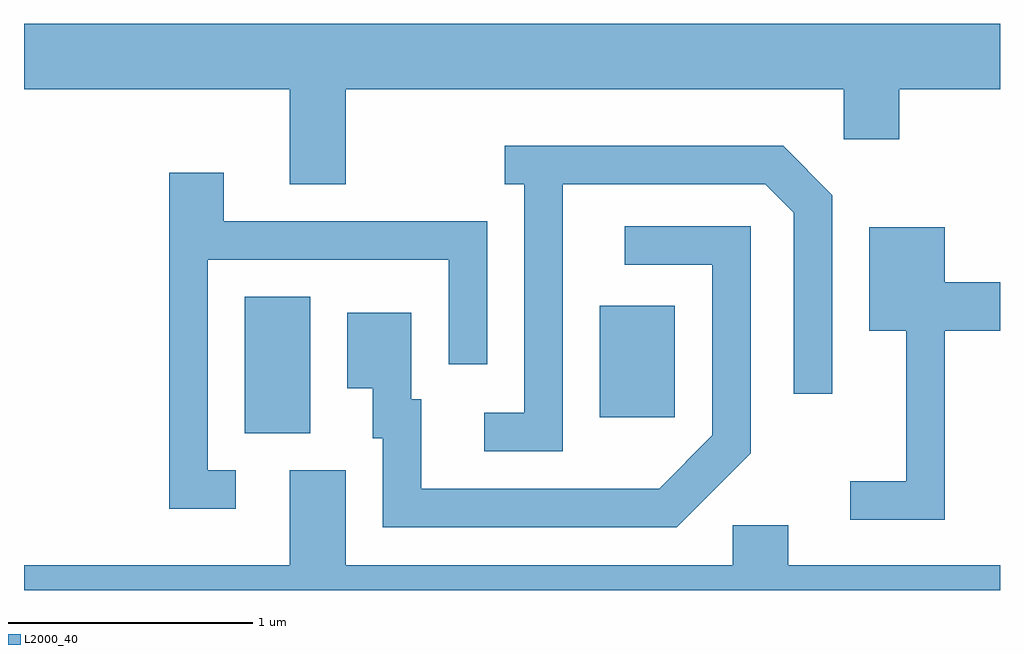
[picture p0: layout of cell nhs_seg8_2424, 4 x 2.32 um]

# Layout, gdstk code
import gdstk
lib = gdstk.Library(unit=1e-6, precision=1e-09)
def R(c, l, rs):  # rectangles x0, y0, x1, y1
    for r in rs: c.add(gdstk.rectangle(r[:2], r[2:], *l))
def P(c, l, *ps):  # polygons
    for p in ps: c.add(gdstk.Polygon(p, *l))
L2000_40 = (2000, 40)

nhs_seg8_2424 = lib.new_cell('nhs_seg8_2424')
R(nhs_seg8_2424, L2000_40, [(258.516,1854.986,258.784,1855.544), (259.971,1855.051,260.279,1855.509)])
P(nhs_seg8_2424, L2000_40, [(258.929,1856.396),(260.971,1856.396),(260.971,1856.191),(261.199,1856.191),(261.199,1856.396),(261.611,1856.396),(261.611,1856.664),(257.611,1856.664),(257.611,1856.396),(258.701,1856.396),(258.701,1856.006),(258.929,1856.006)],
  [(259.819,1856.006),(260.649,1856.006),(260.766,1855.889),(260.766,1855.148),(260.924,1855.148),(260.924,1855.962),(260.722,1856.164),(259.582,1856.164),(259.582,1856.006),(259.661,1856.006),(259.661,1855.069),(259.498,1855.069),(259.498,1854.911),(259.819,1854.911)],
  [(258.478,1854.834),(258.364,1854.834),(258.364,1855.696),(259.351,1855.696),(259.351,1855.268),(259.509,1855.268),(259.509,1855.854),(258.429,1855.854),(258.429,1856.054),(258.206,1856.054),(258.206,1854.676),(258.478,1854.676)],
  [(260.589,1854.904),(260.589,1855.834),(260.073,1855.834),(260.073,1855.676),(260.431,1855.676),(260.431,1854.977),(260.214,1854.759),(259.239,1854.759),(259.239,1855.124),(259.199,1855.124),(259.199,1855.479),(258.936,1855.479),(258.936,1855.171),(259.041,1855.171),(259.041,1854.966),(259.081,1854.966),(259.081,1854.601),(260.287,1854.601)],
  [(261.384,1855.406),(261.611,1855.406),(261.611,1855.604),(261.384,1855.604),(261.384,1855.829),(261.076,1855.829),(261.076,1855.406),(261.226,1855.406),(261.226,1854.789),(260.998,1854.789),(260.998,1854.631),(261.384,1854.631)],
  [(261.611,1854.444),(260.744,1854.444),(260.744,1854.609),(260.516,1854.609),(260.516,1854.444),(258.929,1854.444),(258.929,1854.834),(258.701,1854.834),(258.701,1854.444),(257.611,1854.444),(257.611,1854.342),(261.611,1854.342)])

lib.write_gds('nhs_seg8_2424.gds')
